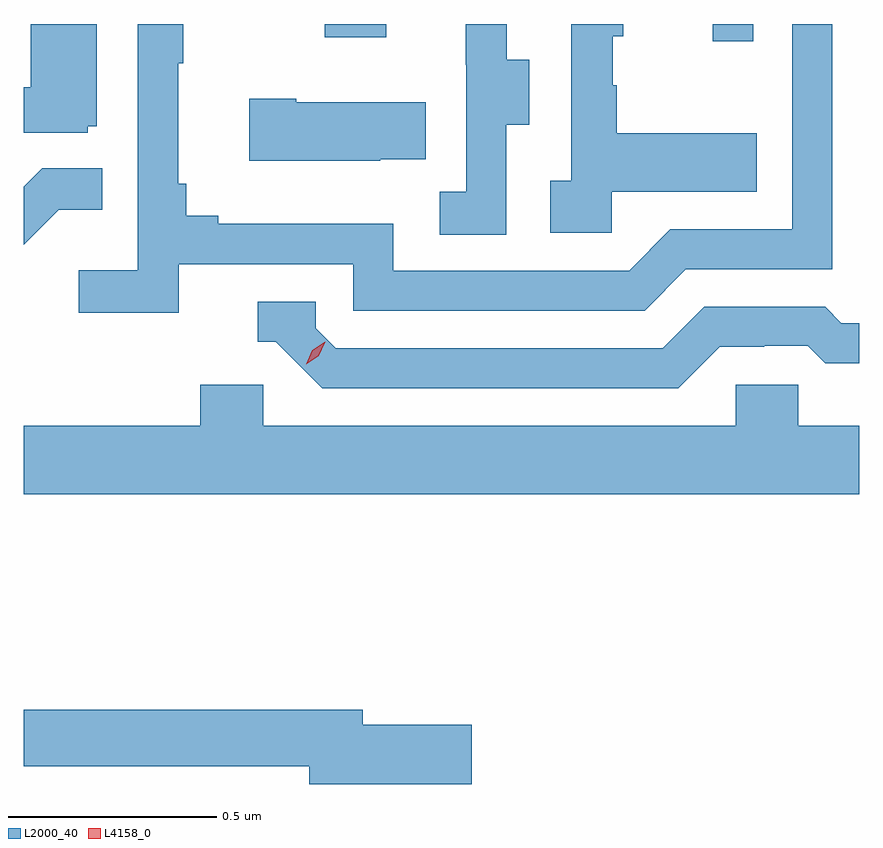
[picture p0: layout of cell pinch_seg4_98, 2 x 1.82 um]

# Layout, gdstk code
import gdstk
lib = gdstk.Library(unit=1e-6, precision=1e-09)
def R(c, l, rs):  # rectangles x0, y0, x1, y1
    for r in rs: c.add(gdstk.rectangle(r[:2], r[2:], *l))
def P(c, l, *ps):  # polygons
    for p in ps: c.add(gdstk.Polygon(p, *l))
L2000_40 = (2000, 40)
L4158_0 = (4158, 0)

pinch_seg4_98 = lib.new_cell('pinch_seg4_98')
R(pinch_seg4_98, L2000_40, [(1055.198,808.56,1055.295,808.601), (1054.27,808.569,1054.417,808.601)])
P(pinch_seg4_98, L2000_40, [(1054.704,808.36),(1054.759,808.36),(1054.759,808.515),(1054.705,808.515),(1054.705,808.601),(1054.607,808.601),(1054.607,808.503),(1054.608,808.503),(1054.608,808.199),(1054.545,808.199),(1054.545,808.096),(1054.704,808.096)],
  [(1053.92,808.026),(1054.338,808.026),(1054.338,807.915),(1055.035,807.915),(1055.134,808.014),(1055.484,808.014),(1055.484,808.601),(1055.388,808.601),(1055.388,808.11),(1055.097,808.11),(1054.998,808.011),(1054.434,808.011),(1054.434,808.123),(1054.015,808.123),(1054.015,808.142),(1053.938,808.142),(1053.938,808.219),(1053.919,808.219),(1053.919,808.507),(1053.931,808.507),(1053.931,808.601),(1053.822,808.601),(1053.822,808.012),(1053.681,808.012),(1053.681,807.91),(1053.92,807.91)],
  [(1054.956,808.199),(1055.303,808.199),(1055.303,808.339),(1054.969,808.339),(1054.969,808.454),(1054.959,808.454),(1054.959,808.572),(1054.984,808.572),(1054.984,808.601),(1054.86,808.601),(1054.86,808.226),(1054.809,808.226),(1054.809,808.101),(1054.956,808.101)],
  [(1053.702,808.356),(1053.724,808.356),(1053.724,808.601),(1053.566,808.601),(1053.566,808.45),(1053.549,808.45),(1053.549,808.341),(1053.702,808.341)],
  [(1054.403,808.277),(1054.511,808.277),(1054.511,808.414),(1054.201,808.414),(1054.201,808.422),(1054.089,808.422),(1054.089,808.274),(1054.403,808.274)],
  [(1053.633,808.157),(1053.737,808.157),(1053.737,808.256),(1053.593,808.256),(1053.549,808.212),(1053.549,808.073)],
  [(1055.215,807.828),(1055.322,807.828),(1055.322,807.831),(1055.425,807.831),(1055.467,807.789),(1055.549,807.789),(1055.549,807.885),(1055.506,807.885),(1055.467,807.924),(1055.178,807.924),(1055.079,807.825),(1054.296,807.825),(1054.248,807.873),(1054.248,807.936),(1054.109,807.936),(1054.109,807.84),(1054.152,807.84),(1054.263,807.729),(1055.116,807.729)],
  [(1055.549,807.64),(1055.403,807.64),(1055.403,807.738),(1055.253,807.738),(1055.253,807.64),(1054.122,807.64),(1054.122,807.738),(1053.971,807.738),(1053.971,807.64),(1053.549,807.64),(1053.549,807.476),(1055.549,807.476)],
  [(1054.621,806.924),(1054.36,806.924),(1054.36,806.96),(1053.549,806.96),(1053.549,806.824),(1054.232,806.824),(1054.232,806.782),(1054.621,806.782)])
P(pinch_seg4_98, L4158_0, [(1054.225,807.787),(1054.225,807.787),(1054.24,807.82),(1054.271,807.84),(1054.271,807.84),(1054.271,807.84),(1054.255,807.807),(1054.225,807.787)])

lib.write_gds('pinch_seg4_98.gds')
